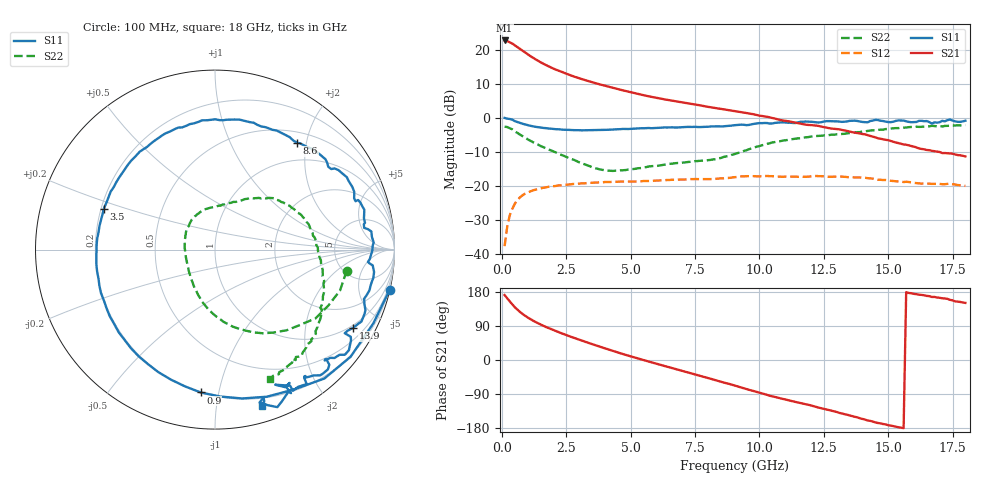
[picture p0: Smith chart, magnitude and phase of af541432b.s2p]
!ATF-54143
!s-parameters at Vds=2V, Id=10mA. Last updated 17/05/01 AR.
# GHZ S MA R 50
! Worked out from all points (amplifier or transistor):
!   180 points, 100 MHz to 18 GHz, reference 50 ohm
!   highest |S21| = 22.8 dB at 100 MHz (marker M1)
!   |S21| within 3 dB of that: start of sweep to 793.2 MHz
!   unconditionally stable (mu >= 1): 4.889 GHz to end of sweep
!   at 3.1 GHz: K = 0.73, MSG = 15.3 dB, |S12| = -19.3 dB
!   at 9.1 GHz: K = 1.27, MAG = 6.6 dB, |S12| = -17.4 dB
!   at 18 GHz: K = 1.71, MAG = -0.6 dB, |S12| = -20.0 dB
!   lowest NFmin = 0.20 dB at 800 MHz
!   S11 on the Smith chart (normalised r, x): 100 MHz: 0.04, -8.78; 900 MHz: 0.20, -0.89; 3.5 GHz: 0.21, +0.17; 8.6 GHz: 0.67, +1.84; 13.9 GHz: 0.89, -3.58; 18 GHz: 0.13, -1.34
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0.1  0.999 -13.0  13.75 171.4  0.013 81.8  0.743 -9.1
0.2  0.973 -25.0  13.49 162.8  0.025 74.5  0.733 -18.1
0.3  0.963 -38.3  12.92 154.6  0.037 67.9  0.704 -26.4
0.5  0.895 -60.5  11.63 139.0  0.055 55.1  0.63 -42.1
0.7  0.843 -79.7  10.31 126.8  0.068 45.8  0.566 -54.7
0.9  0.8 -95.7  9.114 116.6  0.077 38.3  0.511 -64.6
1.2  0.752 -114.9  7.664 104.0  0.086 29.9  0.441 -76.9
1.4  0.731 -125.5  6.919 96.9  0.09 25.5  0.404 -83.5
1.7  0.707 -139.5  5.997 87.3  0.095 20.1  0.357 -91.9
2.3  0.675 -162.5  4.75 70.8  0.102 11.7  0.286 -106.3
3.1  0.656 171.5  3.719 51.1  0.109 2.5  0.215 -127.0
3.5  0.66 159.7  3.347 41.9  0.111 -1.6  0.189 -140.5
4.7  0.688 127.6  2.536 15.6  0.116 -13.5  0.17 173.7
6.1  0.713 99.5  1.942 -11.9  0.12 -25.5  0.199 136.4
7.4  0.736 74.9  1.594 -36.5  0.126 -37.9  0.228 106.9
8.6  0.751 52.4  1.34 -59.3  0.129 -48.4  0.266 75.7
9.1  0.785 44.3  1.251 -68.6  0.135 -53.2  0.3 64.9
10.5  0.828 19.0  0.995 -96.1  0.139 -72.5  0.435 41.2
12.1  0.869 -2.1  0.778 -121.8  0.139 -90.5  0.533 16.8
13.9  0.884 -29.6  0.59 -153.9  0.133 -114.8  0.617 -14.0
15.1  0.866 -44.9  0.458 -173.1  0.119 -130.1  0.696 -31.8
18  0.908 -73.3  0.271 150.7  0.1 -161.4  0.786 -66.9
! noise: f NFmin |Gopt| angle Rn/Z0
0.8  0.2  0.43  39.9  0.08
0.9  0.22  0.41  44.9  0.08
1.9  0.47  0.42  96  0.06
2  0.52  0.41  98.9  0.06
3  0.67  0.36  149.1  0.04
3.9  0.8  0.38  -171.8  0.04
5.8  1.31  0.52  -114.2  0.16
6  1.35  0.55  -110.2  0.18
8  1.83  0.61  -65.7  0.64
10  1.96  0.77  -27.3  1.58
